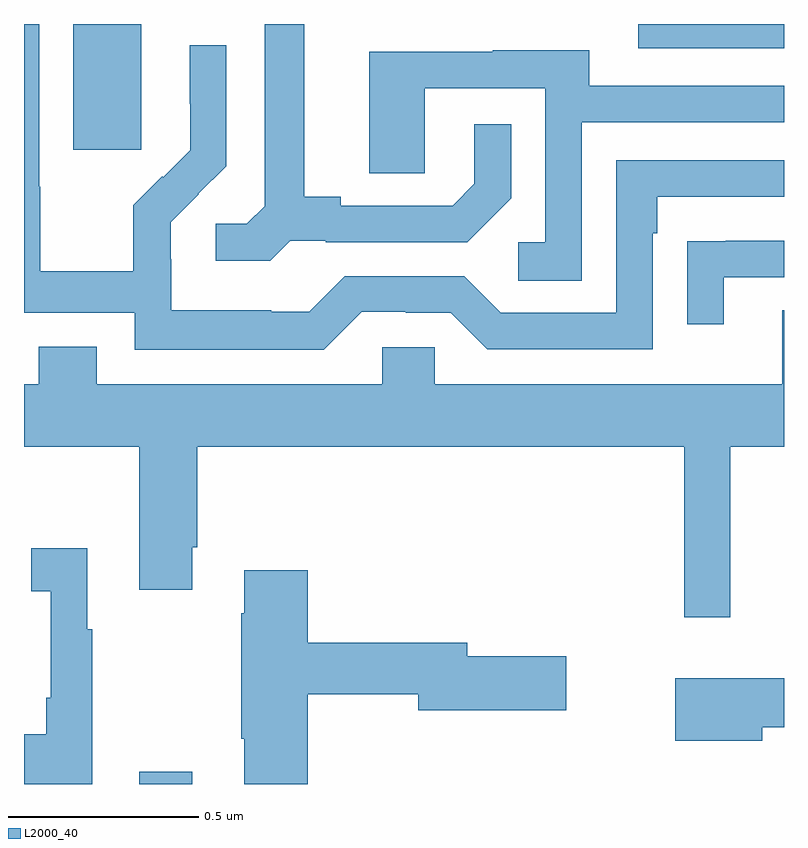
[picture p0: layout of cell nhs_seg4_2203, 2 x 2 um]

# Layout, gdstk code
import gdstk
lib = gdstk.Library(unit=1e-6, precision=1e-09)
def R(c, l, rs):  # rectangles x0, y0, x1, y1
    for r in rs: c.add(gdstk.rectangle(r[:2], r[2:], *l))
def P(c, l, *ps):  # polygons
    for p in ps: c.add(gdstk.Polygon(p, *l))
L2000_40 = (2000, 40)

nhs_seg4_2203 = lib.new_cell('nhs_seg4_2203')
R(nhs_seg4_2203, L2000_40, [(137.303,827.9,137.443,827.932), (137.129,829.569,137.308,829.9), (138.617,829.836,139,829.9)])
P(nhs_seg4_2203, L2000_40, [(137.7,829.329),(137.794,829.329),(137.794,829.326),(138.166,829.326),(138.282,829.442),(138.282,829.636),(138.185,829.636),(138.185,829.479),(138.128,829.422),(137.833,829.422),(137.833,829.445),(137.737,829.445),(137.737,829.9),(137.633,829.9),(137.633,829.421),(137.586,829.374),(137.505,829.374),(137.505,829.277),(137.648,829.277)],
  [(137.889,829.143),(138.005,829.143),(138.005,829.14),(138.123,829.14),(138.219,829.044),(138.654,829.044),(138.654,829.349),(138.667,829.349),(138.667,829.446),(139,829.446),(139,829.542),(138.558,829.542),(138.558,829.14),(138.255,829.14),(138.159,829.236),(137.844,829.236),(137.751,829.143),(137.651,829.143),(137.651,829.147),(137.388,829.147),(137.388,829.281),(137.386,829.281),(137.386,829.378),(137.46,829.452),(137.459,829.453),(137.532,829.526),(137.532,829.844),(137.436,829.844),(137.436,829.69),(137.438,829.69),(137.438,829.568),(137.367,829.497),(137.364,829.5),(137.287,829.423),(137.287,829.249),(137.043,829.249),(137.043,829.472),(137.04,829.472),(137.04,829.9),(137,829.9),(137,829.14),(137.292,829.14),(137.292,829.043),(137.789,829.043)],
  [(138.468,829.641),(139,829.641),(139,829.737),(138.487,829.737),(138.487,829.831),(138.233,829.831),(138.233,829.827),(137.909,829.827),(137.909,829.507),(138.054,829.507),(138.054,829.731),(138.372,829.731),(138.372,829.326),(138.3,829.326),(138.3,829.225),(138.468,829.225)],
  [(138.841,829.233),(139,829.233),(139,829.329),(138.847,829.329),(138.847,829.328),(138.745,829.328),(138.745,829.11),(138.841,829.11)],
  [(138.859,828.788),(139,828.788),(139,829.147),(138.995,829.147),(138.995,828.952),(138.081,828.952),(138.081,829.05),(137.943,829.05),(137.943,828.952),(137.191,828.952),(137.191,829.051),(137.039,829.051),(137.039,828.952),(137,828.952),(137,828.788),(137.303,828.788),(137.303,828.411),(137.443,828.411),(137.443,828.523),(137.456,828.523),(137.456,828.788),(138.738,828.788),(138.738,828.339),(138.859,828.339)],
  [(137.179,828.307),(137.167,828.307),(137.167,828.52),(137.019,828.52),(137.019,828.407),(137.07,828.407),(137.07,828.127),(137.058,828.127),(137.058,828.031),(137,828.031),(137,827.9),(137.179,827.9)],
  [(137.747,828.136),(138.038,828.136),(138.038,828.094),(138.427,828.094),(138.427,828.236),(138.166,828.236),(138.166,828.272),(137.747,828.272),(137.747,828.463),(137.579,828.463),(137.579,828.35),(137.572,828.35),(137.572,828.019),(137.579,828.019),(137.579,827.9),(137.747,827.9)],
  [(138.943,828.05),(139,828.05),(139,828.178),(138.714,828.178),(138.714,828.014),(138.943,828.014)])

lib.write_gds('nhs_seg4_2203.gds')
